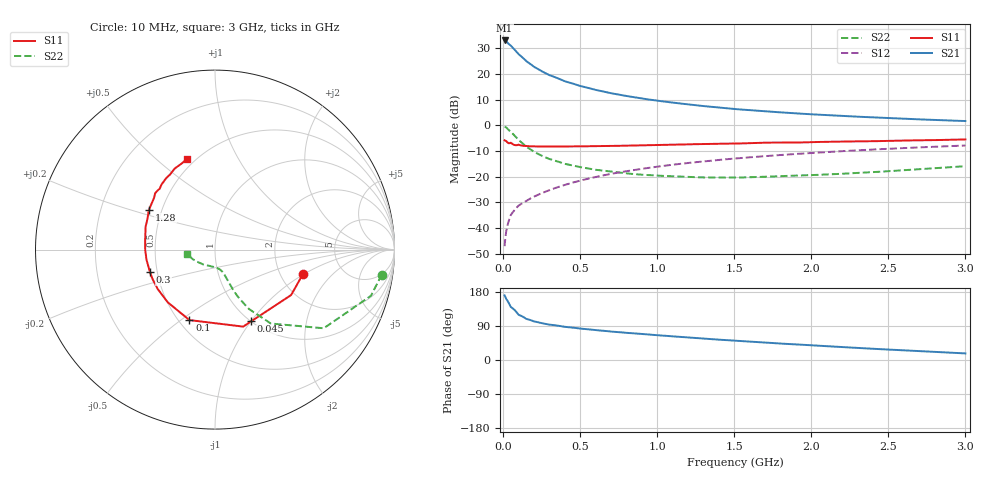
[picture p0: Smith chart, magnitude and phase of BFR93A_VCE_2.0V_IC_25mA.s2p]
! Infineon Technologies  Discrete & RF Semiconductors
! BFR93A
! VCE =  2.0 V,  IC =  25 mA
! Common Emitter S-Parameters:  Nov 2015
# GHz  S  MA  R  50
!  f  S11  S21  S12  S22
! GHz  MAG  ANG  MAG  ANG  MAG  ANG  MAG  ANG
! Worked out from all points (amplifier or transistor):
!   180 points, 10 MHz to 3 GHz, reference 50 ohm
!   highest |S21| = 33.0 dB at 10 MHz (marker M1)
!   |S21| within 3 dB of that: start of sweep to 65.8 MHz
!   unconditionally stable (mu >= 1): 363 MHz to end of sweep
!   at 160 MHz: K = 0.77, MSG = 26.8 dB, |S12| = -29.1 dB
!   at 1.22 GHz: K = 1.08, MAG = 9.5 dB, |S12| = -14.6 dB
!   at 3 GHz: K = 1.01, MAG = 4.2 dB, |S12| = -7.9 dB
!   S11 on the Smith chart (normalised r, x): 10 MHz: 2.65, -0.98; 45 MHz: 1.00, -1.00; 100 MHz: 0.57, -0.54; 300 MHz: 0.46, -0.13; 1.28 GHz: 0.43, +0.23; 3 GHz: 0.45, +0.63
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0.01  0.5082 -15.7  44.8 170.4  0.0044 83.4  0.9396 -8.5
0.02  0.4941 -30.8  43.19 161.6  0.0084 77.5  0.9063 -16.5
0.045  0.4477 -63.2  36.49 144.2  0.0162 68.2  0.767 -32.1
0.05  0.4569 -69.9  35.64 140.1  0.0178 67.3  0.7475 -35.9
0.1  0.4177 -109.9  24.39 119.6  0.027 60.8  0.5164 -52.9
0.15  0.3944 -131.9  17.74 108.6  0.0336 61.2  0.3823 -60.2
0.2  0.3874 -145.5  13.81 101.9  0.0405 63.2  0.3038 -63.6
0.24  0.3846 -152.9  11.76 98.2  0.0459 64.4  0.2639 -65.1
0.26  0.3843 -155.9  10.9 96.5  0.0487 64.9  0.2472 -65.7
0.3  0.3836 -160.8  9.488 93.4  0.0542 66.1  0.2199 -66.5
0.4  0.3857 -171.4  7.195 87.6  0.0686 67.8  0.1769 -67.9
0.5  0.3888 -179.6  5.821 82.9  0.0832 68.2  0.1528 -68.9
0.52  0.3889 179.3  5.632 82.2  0.0861 68.2  0.1494 -69.2
0.6  0.3909 174.9  4.885 78.9  0.0979 68.2  0.1356 -70.5
0.7  0.3944 170.4  4.207 75.1  0.1126 67.7  0.1245 -72.7
0.9  0.407 161.8  3.311 68.7  0.1412 66.1  0.1086 -79.2
1.02  0.4112 157.1  2.953 64.8  0.1584 64.8  0.1036 -83.3
1.28  0.4292 148.8  2.398 57.1  0.1943 61.6  0.0964 -95.9
1.52  0.4403 141.9  2.047 50.6  0.2266 58.5  0.0956 -108.6
2.02  0.47 129.1  1.62 38.4  0.29 51.9  0.1072 -131.9
2.52  0.4972 118.2  1.37 27.2  0.3498 44.8  0.1282 -152.1
3  0.5282 107.2  1.206 17.3  0.4025 37.9  0.1596 -171.2
